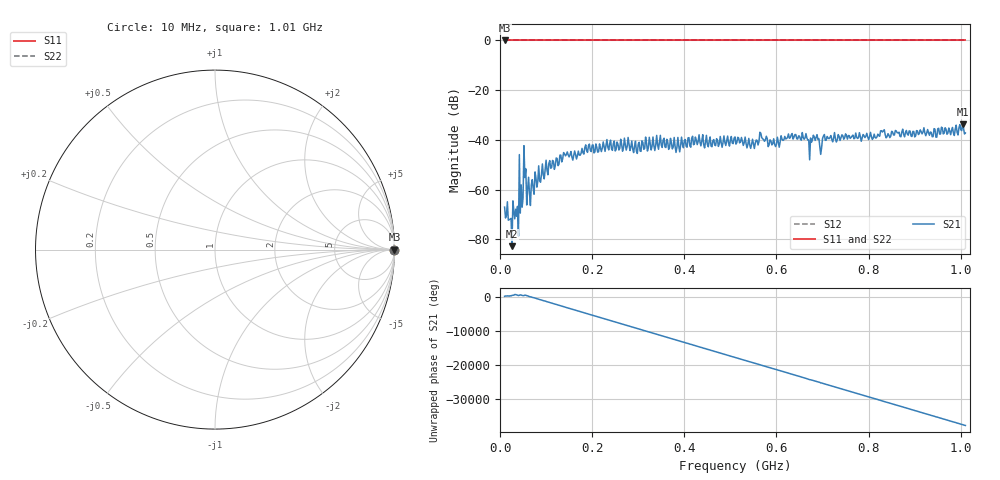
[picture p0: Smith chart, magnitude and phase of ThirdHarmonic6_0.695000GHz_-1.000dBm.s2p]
! 8/15/2025 11:13:25 PM
! C:\ANRITSUVNA\TEMP\TEMP.S2P
! CHANNEL.1
! TR.MEASUREMENT
! RAW.DATA
! RF.CORRECTION.OFF
! AVERAGING.OFF
! IF.BANDWIDTH: 5KHZ
! SWEEPTYPE:  FREQ.SWEEP(Linear)
! Reference Plane Port Info
! PORT:  PORT1  PORT2
! DISTANCE:  0  m  0  m
! TIME:  0  s  0  s
! PHASE.OFFSET:  0  deg.  0  deg.
! LOSS:  0  dB  0  dB
! REF.LOSS:  0  dB  0  dB
! REF.FREQ:  0  Hz  0  Hz
! Power Info
! POWER:  -20  dBm  -20  dBm
! EFF.POWER:  -20  dBm  -20  dBm
! SOURCE.ATTEN:  0  dB  0  dB
! TEST.ATTEN:  0  dB  0  dB
# GHZ S RI R 50.0
! FREQ.GHZ  S11RE  S11IM  S21RE  S21IM  S12RE  S12IM  S22RE  S22IM
!; PortSelection: Port_12
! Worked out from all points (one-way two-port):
!   501 points, 10 MHz to 1.01 GHz, reference 50 ohm
!   highest |S21| = -33.67 dB at 1.004 GHz (marker M1); lowest = -82.7 dB at 26 MHz (marker M2)
!   lowest |S11| = 0.0 dB at 10 MHz (marker M3)
!   |S11| at or under -10 dB: nowhere
!   |S22| runs from 0.0 to 0.0 dB; largest |S21 - S12| = 1
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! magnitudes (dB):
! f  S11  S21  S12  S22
! 10 MHz  0.0  -67.0  0.0  0.0
! 22 MHz  0.0  -71.8  0.0  0.0
! 26 MHz  0.0  -82.7  0.0  0.0
! 32 MHz  0.0  -71.7  0.0  0.0
! 36 MHz  0.0  -70.7  0.0  0.0
! 38 MHz  0.0  -66.7  0.0  0.0
! 56 MHz  0.0  -51.6  0.0  0.0
! 62 MHz  0.0  -55.0  0.0  0.0
! 104 MHz  0.0  -54.0  0.0  0.0
! 178 MHz  0.0  -43.4  0.0  0.0
! 344 MHz  0.0  -43.8  0.0  0.0
! 386 MHz  0.0  -39.0  0.0  0.0
! 510 MHz  0.0  -38.8  0.0  0.0
! 602 MHz  0.0  -38.9  0.0  0.0
! 660 MHz  0.0  -39.7  0.0  0.0
! 672 MHz  0.0  -48.0  0.0  0.0
! 678 MHz  0.0  -40.0  0.0  0.0
! 694 MHz  0.0  -42.7  0.0  0.0
! 706 MHz  0.0  -40.2  0.0  0.0
! 844 MHz  0.0  -38.1  0.0  0.0
! 1.004 GHz  0.0  -33.7  0.0  0.0
! 1.01 GHz  0.0  -37.2  0.0  0.0
